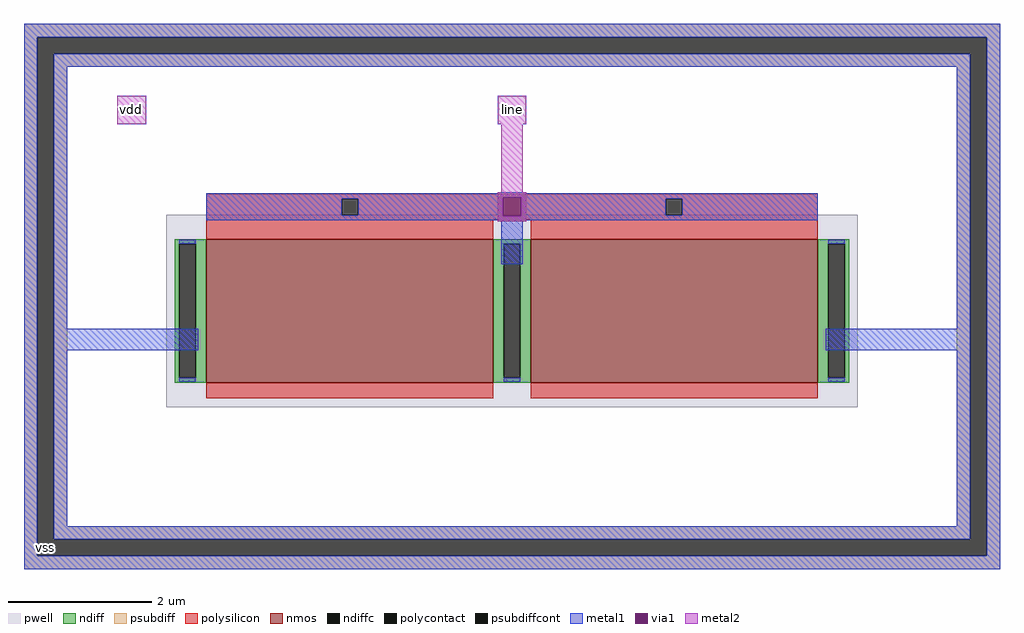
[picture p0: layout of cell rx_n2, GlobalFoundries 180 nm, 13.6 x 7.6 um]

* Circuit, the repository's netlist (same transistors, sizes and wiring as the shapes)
* NGSPICE file created from rx_n2.ext - technology: gf180mcuD

.subckt n_w2_l4_f2 a_n52_n200# a_852_n200# a_n852_n244# a_n940_n200# a_52_n244# VSUBS
X0 a_852_n200# a_52_n244# a_n52_n200# VSUBS nfet_03v3 ad=0.88p pd=4.88u as=0.52p ps=2.52u w=2u l=4u
X1 a_n52_n200# a_n852_n244# a_n940_n200# VSUBS nfet_03v3 ad=0.52p pd=2.52u as=0.88p ps=4.88u w=2u l=4u
.ends

.subckt rx_n2 line vdd vss
XD line vss line vss line vss n_w2_l4_f2
.ends

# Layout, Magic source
magic
tech gf180mcuD
magscale 1 10
<< psubdiff >>
rect 0 1483 2720 1520
rect 0 37 37 1483
rect 83 1400 2637 1437
rect 83 120 120 1400
rect 2600 120 2637 1400
rect 83 83 2637 120
rect 2683 37 2720 1483
rect 0 0 2720 37
<< psubdiffcont >>
rect 37 1437 2683 1483
rect 37 83 83 1437
rect 2637 83 2683 1437
rect 37 37 2683 83
<< polysilicon >>
rect 508 1033 2212 1046
rect 508 987 885 1033
rect 931 987 1789 1033
rect 1835 987 2212 1033
rect 508 974 2212 987
rect 508 920 1308 974
rect 1412 920 2212 974
<< polycontact >>
rect 885 987 931 1033
rect 1789 987 1835 1033
<< metal1 >>
rect 0 1483 2720 1520
rect 0 37 37 1483
rect 83 1400 2637 1437
rect 83 670 120 1400
rect 1320 1048 1400 1050
rect 508 1036 2212 1048
rect 508 1033 1334 1036
rect 508 987 885 1033
rect 931 987 1334 1033
rect 508 984 1334 987
rect 1386 1033 2212 1036
rect 1386 987 1789 1033
rect 1835 987 2212 1033
rect 1386 984 2212 987
rect 508 972 2212 984
rect 1320 970 1400 972
rect 1330 850 1390 970
rect 2600 670 2637 1400
rect 83 610 486 670
rect 2234 610 2637 670
rect 83 120 120 610
rect 2600 120 2637 610
rect 83 83 2637 120
rect 2683 37 2720 1483
rect 0 0 2720 37
<< via1 >>
rect 1334 984 1386 1036
<< metal2 >>
rect 260 1240 340 1320
rect 1320 1240 1400 1320
rect 1330 1050 1390 1240
rect 1320 1036 1400 1050
rect 1320 984 1334 1036
rect 1386 984 1400 1036
rect 1320 970 1400 984
use n_w2_l4_f2  D devices
transform 1 0 1360 0 1 720
box -964 -268 964 268
<< labels >>
flabel metal2 1320 1240 1400 1320 0 FreeSans 400 0 0 0 line
port 1 nsew signal bidirectional
flabel metal2 260 1240 340 1320 0 FreeSans 400 0 0 0 vdd
port 2 nsew power bidirectional
flabel metal1 20 20 100 100 0 FreeSans 400 0 0 0 vss
port 3 nsew ground bidirectional
<< end >>

# cell n_w2_l4_f2: kit device nfet_03v3, w 2 l 4 m 1 nf 2 diffcov 100 polycov 100 guard 0 glc 1 grc 1 gtc 0 gbc 0 tbcov 100 rlcov 100 topc 0 botc 0 poverlap 0 doverlap 1 lmin 0.28 wmin 0.22 class mosfet full_metal 1 compatible {nfet_03v3 nfet_05v0 nfet_06v0 nfet_06v0_nvt}
